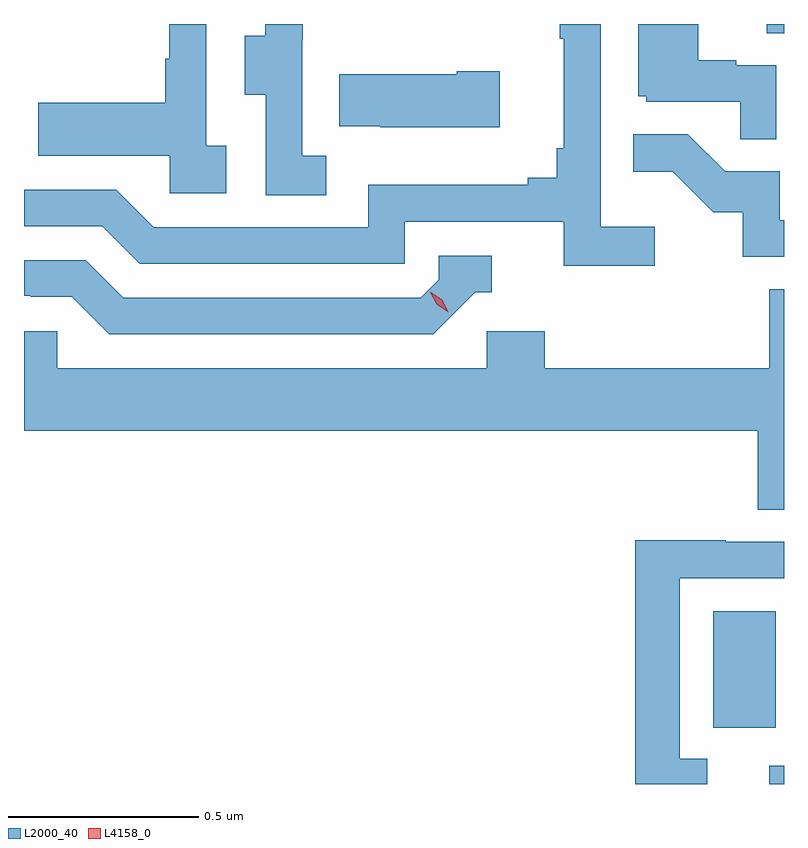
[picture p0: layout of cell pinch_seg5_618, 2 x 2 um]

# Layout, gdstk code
import gdstk
lib = gdstk.Library(unit=1e-6, precision=1e-09)
def R(c, l, rs):  # rectangles x0, y0, x1, y1
    for r in rs: c.add(gdstk.rectangle(r[:2], r[2:], *l))
def P(c, l, *ps):  # polygons
    for p in ps: c.add(gdstk.Polygon(p, *l))
L2000_40 = (2000, 40)
L4158_0 = (4158, 0)

pinch_seg5_618 = lib.new_cell('pinch_seg5_618')
R(pinch_seg5_618, L2000_40, [(1020.611,859.826,1020.65,859.874), (1020.464,859.974,1020.628,860.281), (1020.605,861.802,1020.65,861.826)])
P(pinch_seg5_618, L2000_40, [(1020.31,861.292),(1020.168,861.292),(1020.168,861.826),(1020.06,861.826),(1020.06,861.787),(1020.071,861.787),(1020.071,861.499),(1020.052,861.499),(1020.052,861.422),(1019.975,861.422),(1019.975,861.403),(1019.556,861.403),(1019.556,861.291),(1018.992,861.291),(1018.893,861.39),(1018.65,861.39),(1018.65,861.294),(1018.856,861.294),(1018.955,861.195),(1019.652,861.195),(1019.652,861.306),(1020.071,861.306),(1020.071,861.19),(1020.31,861.19)],
  [(1019.446,861.479),(1019.382,861.479),(1019.382,861.783),(1019.384,861.783),(1019.384,861.826),(1019.285,861.826),(1019.285,861.795),(1019.231,861.795),(1019.231,861.64),(1019.286,861.64),(1019.286,861.376),(1019.446,861.376)],
  [(1019.182,861.506),(1019.13,861.506),(1019.13,861.826),(1019.032,861.826),(1019.032,861.734),(1019.022,861.734),(1019.022,861.619),(1018.687,861.619),(1018.687,861.479),(1019.034,861.479),(1019.034,861.381),(1019.182,861.381)],
  [(1020.63,861.717),(1020.524,861.717),(1020.524,861.73),(1020.424,861.73),(1020.424,861.826),(1020.266,861.826),(1020.266,861.636),(1020.288,861.636),(1020.288,861.621),(1020.535,861.621),(1020.535,861.523),(1020.63,861.523)],
  [(1019.902,861.702),(1019.789,861.702),(1019.789,861.694),(1019.479,861.694),(1019.479,861.557),(1019.587,861.557),(1019.587,861.554),(1019.902,861.554)],
  [(1020.65,861.309),(1020.639,861.309),(1020.639,861.438),(1020.495,861.438),(1020.397,861.536),(1020.253,861.536),(1020.253,861.437),(1020.357,861.437),(1020.464,861.33),(1020.541,861.33),(1020.541,861.213),(1020.65,861.213)],
  [(1019.838,861.12),(1019.881,861.12),(1019.881,861.216),(1019.742,861.216),(1019.742,861.153),(1019.694,861.105),(1018.911,861.105),(1018.812,861.204),(1018.65,861.204),(1018.65,861.111),(1018.668,861.111),(1018.668,861.108),(1018.775,861.108),(1018.874,861.009),(1019.727,861.009)],
  [(1020.65,861.128),(1020.611,861.128),(1020.611,860.92),(1020.02,860.92),(1020.02,861.018),(1019.868,861.018),(1019.868,860.92),(1018.737,860.92),(1018.737,861.018),(1018.65,861.018),(1018.65,860.756),(1020.581,860.756),(1020.581,860.548),(1020.65,860.548)],
  [(1020.448,859.893),(1020.375,859.893),(1020.375,860.367),(1020.65,860.367),(1020.65,860.463),(1020.497,860.463),(1020.497,860.468),(1020.259,860.468),(1020.259,859.826),(1020.448,859.826)])
P(pinch_seg5_618, L4158_0, [(1019.767,861.068),(1019.736,861.088),(1019.719,861.12),(1019.719,861.12),(1019.72,861.12),(1019.751,861.101),(1019.767,861.069),(1019.767,861.068)])

lib.write_gds('pinch_seg5_618.gds')
